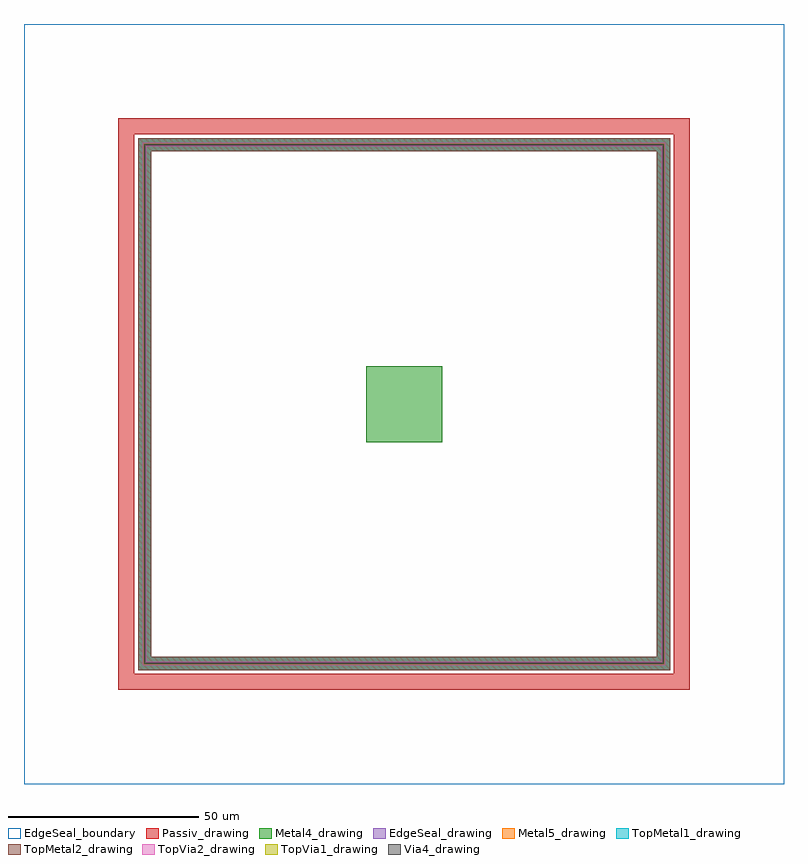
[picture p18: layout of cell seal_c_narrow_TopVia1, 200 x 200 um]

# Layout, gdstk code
import gdstk
lib = gdstk.Library(unit=1e-6, precision=1e-09)
def R(c, l, rs):  # rectangles x0, y0, x1, y1
    for r in rs: c.add(gdstk.rectangle(r[:2], r[2:], *l))
def P(c, l, *ps):  # polygons
    for p in ps: c.add(gdstk.Polygon(p, *l))
Passiv_drawing = (9, 0)
EdgeSeal_drawing = (39, 0)
EdgeSeal_boundary = (39, 4)
Metal4_drawing = (50, 0)
Via4_drawing = (66, 0)
Metal5_drawing = (67, 0)
TopVia1_drawing = (125, 0)
TopMetal1_drawing = (126, 0)
TopVia2_drawing = (133, 0)
TopMetal2_drawing = (134, 0)

seal_c_narrow_topvia1 = lib.new_cell('seal_c_narrow_TopVia1')
P(seal_c_narrow_topvia1, Passiv_drawing, [(24.8,24.8),(24.8,171),(29,171),(29,29),(171,29),(171,171),(24.8,171),(24.8,175.2),(175.2,175.2),(175.2,24.8)])
P(seal_c_narrow_topvia1, EdgeSeal_drawing, [(30,30),(30,166.5),(33.5,166.5),(33.5,33.5),(166.5,33.5),(166.5,166.5),(30,166.5),(30,170),(170,170),(170,30)])
R(seal_c_narrow_topvia1, EdgeSeal_boundary, [(0,0,200,200)])
R(seal_c_narrow_topvia1, Metal4_drawing, [(90,90,110,110)])
P(seal_c_narrow_topvia1, Metal4_drawing, [(30,30),(30,166.5),(33.5,166.5),(33.5,33.5),(166.5,33.5),(166.5,166.5),(30,166.5),(30,170),(170,170),(170,30)])
P(seal_c_narrow_topvia1, Via4_drawing, [(31.655,31.655),(31.655,168.155),(31.845,168.155),(31.845,31.845),(168.155,31.845),(168.155,168.155),(31.655,168.155),(31.655,168.345),(168.345,168.345),(168.345,31.655)])
P(seal_c_narrow_topvia1, Metal5_drawing, [(30,30),(30,166.5),(33.5,166.5),(33.5,33.5),(166.5,33.5),(166.5,166.5),(30,166.5),(30,170),(170,170),(170,30)])
P(seal_c_narrow_topvia1, TopVia1_drawing, [(31.54,31.54),(31.54,168.04),(31.96,168.04),(31.96,31.96),(168.04,31.96),(168.04,95),(168.045,95),(168.045,105),(168.04,105),(168.04,168.04),(31.54,168.04),(31.54,168.46),(168.46,168.46),(168.46,31.54)])
P(seal_c_narrow_topvia1, TopMetal1_drawing, [(30,30),(30,166.5),(33.5,166.5),(33.5,33.5),(166.5,33.5),(166.5,166.5),(30,166.5),(30,170),(170,170),(170,30)])
P(seal_c_narrow_topvia1, TopVia2_drawing, [(31.3,31.3),(31.3,167.8),(32.2,167.8),(32.2,32.2),(167.8,32.2),(167.8,167.8),(31.3,167.8),(31.3,168.7),(168.7,168.7),(168.7,31.3)])
P(seal_c_narrow_topvia1, TopMetal2_drawing, [(30,30),(30,166.5),(33.5,166.5),(33.5,33.5),(166.5,33.5),(166.5,166.5),(30,166.5),(30,170),(170,170),(170,30)])

lib.write_gds('seal_c_narrow_TopVia1.gds')
